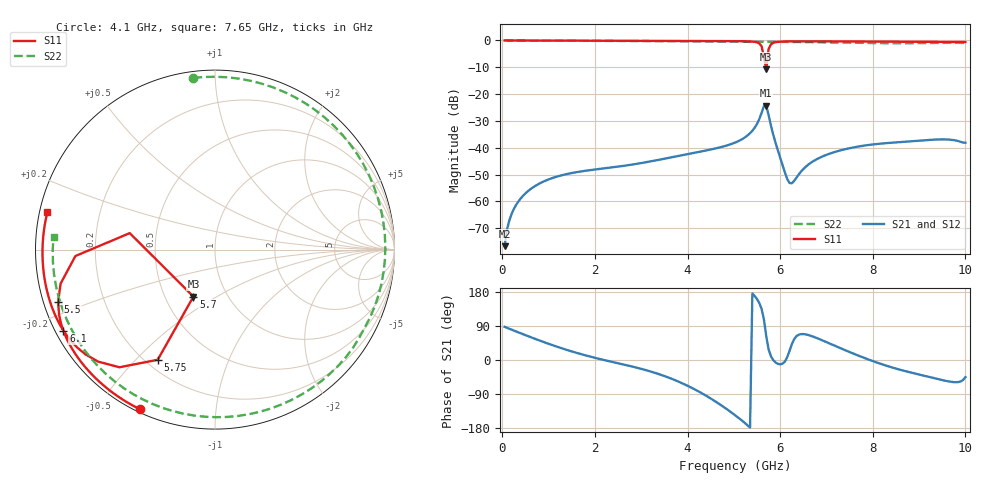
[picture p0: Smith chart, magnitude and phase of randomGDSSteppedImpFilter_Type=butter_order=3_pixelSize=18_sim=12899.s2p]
! freq	dB(S11)	phase(S11)	dB(S12)	phase(S12)
!  dB(S21)	phase(S21)	dB(S22)	phase(S22)
!S-par simulation data
#  GHz  S  DB  R 50
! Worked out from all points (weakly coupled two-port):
!   200 points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, 50 MHz to 10 GHz, reference 50 ohm
!   highest |S21| = -24.32 dB at 5.7 GHz (marker M1); lowest = -76.7 dB at 50 MHz (marker M2)
!   lowest |S11| = -10.8 dB at 5.7 GHz (marker M3), VSWR 1.81, Z = 34.6 - j19.8 ohm
!   |S11| at or under -10 dB: 5.690981 GHz to 5.705343 GHz (14.36 MHz wide, 0.252 % of centre)
!   |S22| runs from -1.1 to 0.0 dB; largest |S21 - S12| = 0
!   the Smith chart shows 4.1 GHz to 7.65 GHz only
!   S11 on the Smith chart (normalised r, x): 4.1 GHz: 0.01, -0.63; 5.5 GHz: 0.04, -0.16; 5.7 GHz: 0.69, -0.40; 5.75 GHz: 0.25, -0.58; 6.1 GHz: 0.02, -0.25; 7.65 GHz: 0.02, +0.11
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0.05  -0.00 -1.6  -76.69 87.5  -76.69 87.5  -0.00 -3.4
0.2  -0.01 -6.2  -64.71 80.0  -64.71 80.0  -0.02 -13.6
0.5  -0.02 -15.4  -57.00 65.5  -57.00 65.5  -0.05 -33.8
1.15  -0.04 -35.0  -50.90 36.4  -50.90 36.4  -0.10 -76.2
1.75  -0.06 -52.6  -48.69 13.8  -48.69 13.8  -0.13 -113.2
2.6  -0.09 -76.3  -46.80 -11.4  -46.80 -11.4  -0.18 -163.9
3.4  -0.12 -97.4  -44.43 -38.0  -44.43 -38.0  -0.25 146.2
4.1  -0.15 -115.2  -42.05 -74.0  -42.05 -74.0  -0.32 97.1
5.05  -0.23 -140.2  -37.90 -147.8  -37.90 -147.8  -0.42 21.4
5.5  -0.70 -161.4  -31.12 160.8  -31.12 160.8  -0.48 -15.7
5.65  -6.30 169.1  -24.44 106.6  -24.44 106.6  -0.53 -27.7
5.7  -10.81 -114.7  -24.32 62.7  -24.32 62.7  -0.52 -31.5
5.75  -3.20 -117.5  -27.77 28.3  -27.77 28.3  -0.50 -35.5
6.1  -0.38 -151.8  -49.07 -4.3  -49.07 -4.3  -0.54 -63.0
6.25  -0.34 -157.1  -53.26 41.0  -53.26 41.0  -0.56 -74.4
6.7  -0.32 -169.5  -45.17 62.3  -45.17 62.3  -0.64 -108.2
7.65  -0.38 167.3  -39.66 13.5  -39.66 13.5  -0.89 175.5
8.35  -0.44 150.1  -38.20 -17.2  -38.20 -17.2  -1.06 102.2
8.7  -0.47 141.2  -37.77 -29.3  -37.77 -29.3  -1.05 59.1
9.15  -0.51 129.4  -37.17 -42.7  -37.17 -42.7  -0.94 4.3
9.6  -0.55 117.1  -36.91 -55.6  -36.91 -55.6  -0.87 -42.6
10  -0.59 105.6  -38.13 -45.2  -38.13 -45.2  -1.01 -76.8
